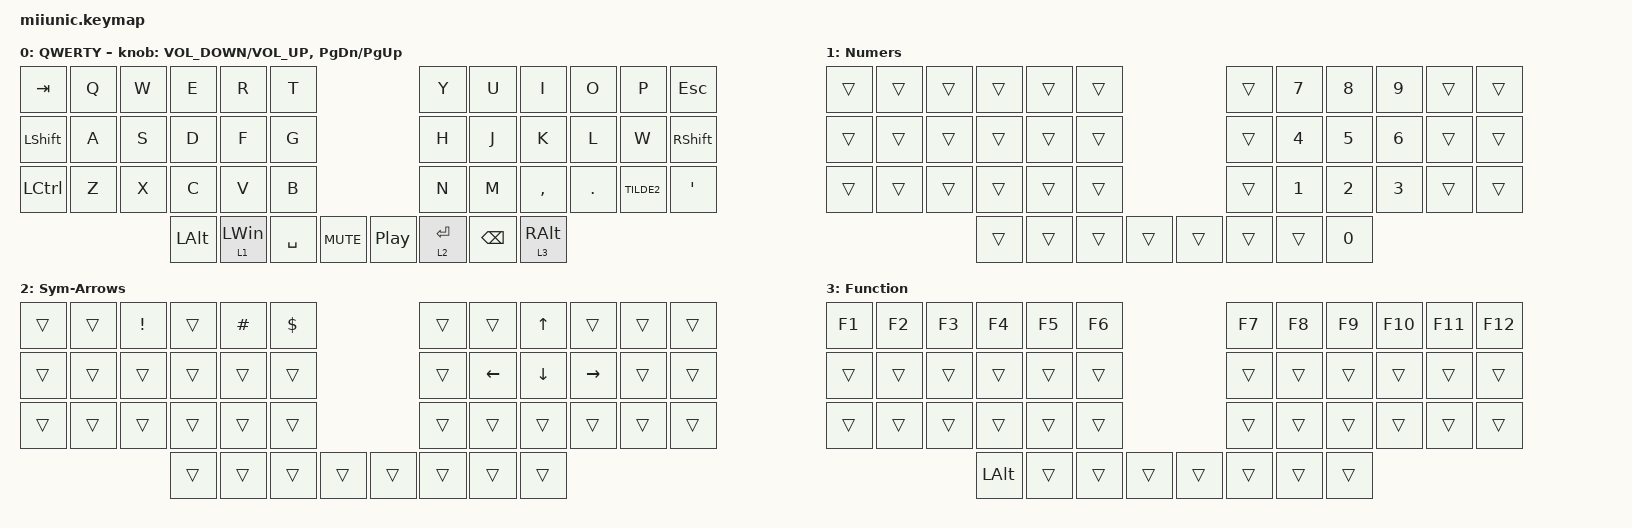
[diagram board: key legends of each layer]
#include <behaviors.dtsi>
#include <dt-bindings/zmk/keys.h>

/ {
    keymap {
        compatible = "zmk,keymap";

        Default_layer {
            display-name = "QWERTY";
            bindings = <
&kp TAB    &kp Q  &kp W  &kp E     &kp R           &kp T                            &kp Y      &kp U          &kp I       &kp O    &kp P       &kp ESCAPE
&kp LSHFT  &kp A  &kp S  &kp D     &kp F           &kp G                            &kp H      &kp J          &kp K       &kp L    &kp W       &kp RSHFT
&kp LCTRL  &kp Z  &kp X  &kp C     &kp V           &kp B                            &kp N      &kp M          &kp COMMA   &kp DOT  &kp TILDE2  &kp APOSTROPHE
                         &kp LALT  &lt 1 LEFT_WIN  &kp SPACE  &kp C_MUTE  &kp C_PP  &lt 2 RET  &kp BACKSPACE  &lt 3 RALT
            >;

            sensor-bindings =
                <&inc_dec_kp C_VOLUME_DOWN C_VOLUME_UP>,
                <&inc_dec_kp PG_DN PG_UP>;
        };

        Num_layer {
            display-name = "Numers";
            bindings = <
&trans  &trans  &trans  &trans  &trans  &trans                  &trans  &kp N7        &kp N8        &kp N9        &trans  &trans
&trans  &trans  &trans  &trans  &trans  &trans                  &trans  &kp NUMBER_4  &kp N5        &kp NUMBER_6  &trans  &trans
&trans  &trans  &trans  &trans  &trans  &trans                  &trans  &kp NUMBER_1  &kp NUMBER_2  &kp NUMBER_3  &trans  &trans
                        &trans  &trans  &trans  &trans  &trans  &trans  &trans        &kp N0
            >;
        };

        Symbols {
            display-name = "Sym-Arrows";
            bindings = <
&trans  &trans  &kp EXCL  &trans  &kp HASH  &kp DOLLAR                  &trans  &trans          &kp UP_ARROW    &trans           &trans  &trans
&trans  &trans  &trans    &trans  &trans    &trans                      &trans  &kp LEFT_ARROW  &kp DOWN_ARROW  &kp RIGHT_ARROW  &trans  &trans
&trans  &trans  &trans    &trans  &trans    &trans                      &trans  &trans          &trans          &trans           &trans  &trans
                          &trans  &trans    &trans      &trans  &trans  &trans  &trans          &trans
            >;
        };

        Functions {
            display-name = "Function";
            bindings = <
&kp F1  &kp F2  &kp F3  &kp F4    &kp F5  &kp F6                  &kp F7  &kp F8  &kp F9  &kp F10  &kp F11  &kp F12
&trans  &trans  &trans  &trans    &trans  &trans                  &trans  &trans  &trans  &trans   &trans   &trans
&trans  &trans  &trans  &trans    &trans  &trans                  &trans  &trans  &trans  &trans   &trans   &trans
                        &kp LALT  &trans  &trans  &trans  &trans  &trans  &trans  &trans
            >;
        };
    };
};
